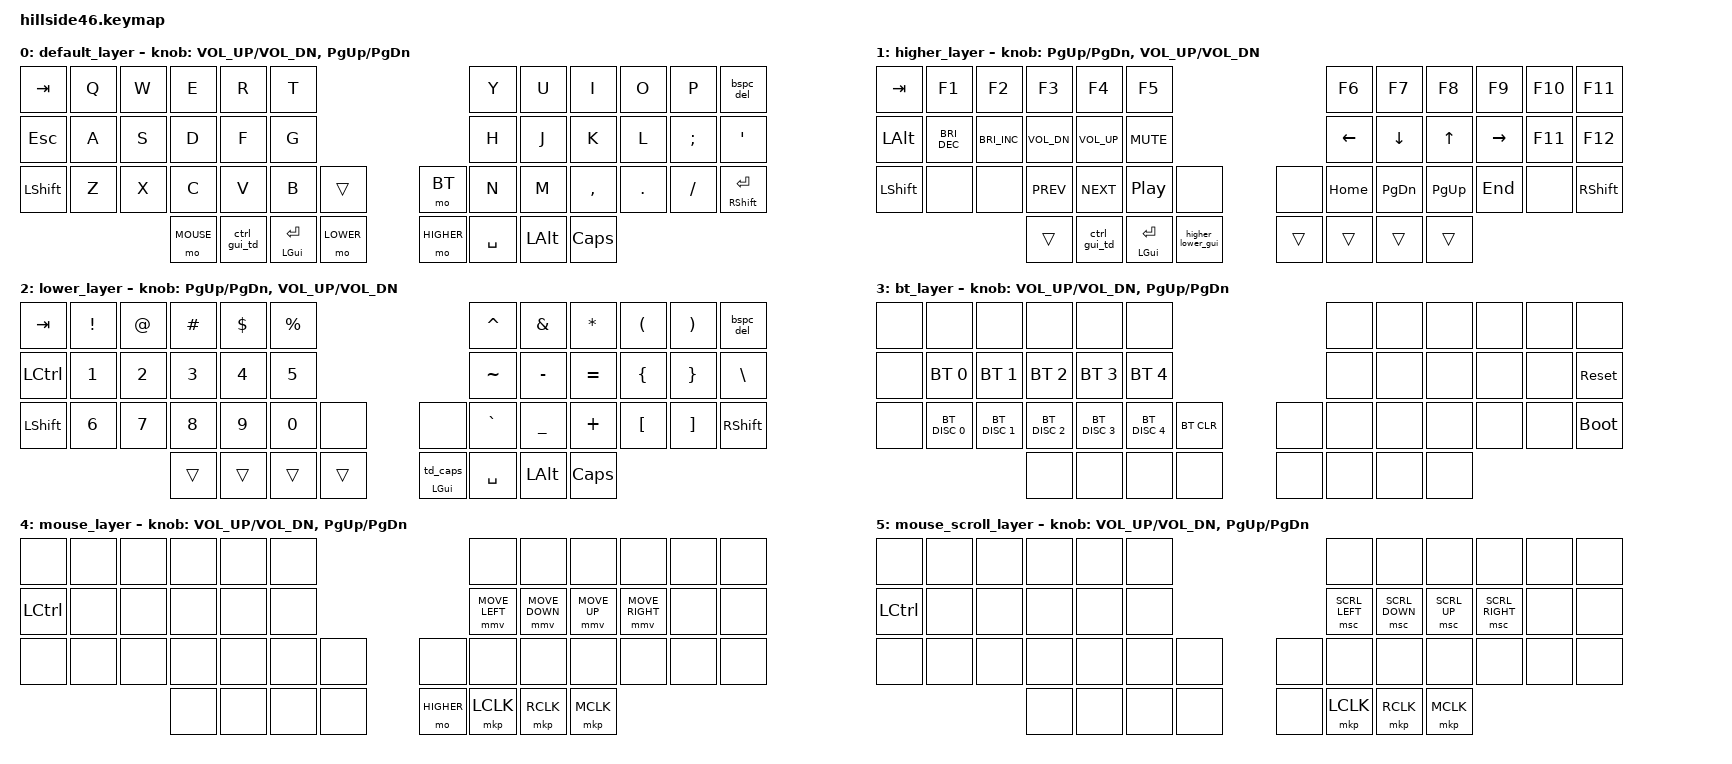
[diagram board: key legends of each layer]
/*
 * Copyright (c) 2021-2022 The ZMK Contributors
 *
 * SPDX-License-Identifier: MIT
 */

#define ZMK_POINTING_DEFAULT_MOVE_VAL 3000  // default: 600
#define ZMK_POINTING_DEFAULT_SCRL_VAL 20    // default: 10

#include <behaviors.dtsi>
#include <dt-bindings/zmk/bt.h>
#include <dt-bindings/zmk/ext_power.h>
#include <dt-bindings/zmk/keys.h>
#include <dt-bindings/zmk/outputs.h>
#include <dt-bindings/zmk/pointing.h>

#define DEFAULT       0
#define HIGHER        1
#define LOWER         2
#define BT            3
#define MOUSE         4
#define MOUSE_SCROLL  5

#define Undo   LC(Z)
#define Cut    LC(X)
#define Copy   LC(C)
#define Paste  LC(V)
#define Redo   LC(Y)


/ {
        conditional_layers {
          compatible = "zmk,conditional-layers";

          mouse_scroll {
            if-layers = <HIGHER MOUSE>;
            then-layer = <MOUSE_SCROLL>;
          };
        };

        macros {
          higher_lower_gui: higher_lower_gui {
            compatible = "zmk,behavior-macro";
            #binding-cells = <0>;
            bindings =
                <&macro_press &mo LOWER &kp LGUI>,
                <&macro_pause_for_release>,
                <&macro_release &mo LOWER &kp LGUI>;
          };
        };

        behaviors {
          ctrl_gui_td: tap_dance_0 {
              compatible = "zmk,behavior-tap-dance";
              #binding-cells = <0>;
              tapping-term-ms = <200>;
              bindings = <&kp LCTRL>, <&kp LC(LGUI)>;
          };

          bspc_del: backspace_delete {
            compatible = "zmk,behavior-mod-morph";
            #binding-cells = <0>;
            // bindings[0] is used when no modifier from 'mods' is held (outputs BACKSPACE)
            // bindings[1] is used when a modifier from 'mods' IS held (outputs DELETE)
            bindings = <&kp BACKSPACE>, <&kp DELETE>;
            // This specifies that Left Shift (MOD_LSFT)  will trigger the morph
            mods = <(MOD_LSFT)>;
            // This is crucial: by default, the triggering modifier (Shift) is "swallowed"
            // so the OS only receives the DELETE keycode, not Shift+Delete.
            keep-mods = <0>;
          };

          td_caps: tap_dance_caps {
            compatible = "zmk,behavior-tap-dance";
            #binding-cells = <0>;
            tapping-term-ms = <200>;
            bindings = <&caps_word>, <&kp CAPS>;
          };
          // 2. Hold-tap combining LGUI (hold) and the tap-dance above (tap)
          cw_gui: caps_word_gui {
            compatible = "zmk,behavior-hold-tap";
            #binding-cells = <2>;
            tapping-term-ms = <200>;
            flavor = "hold-preferred";
            hold-while-undecided;
            bindings = <&kp>, <&td_caps>;
          };
        };

        /* &mmv { */
        /*   x-input-code = <INPUT_REL_X>; */
        /*   y-input-code = <INPUT_REL_Y>; */
        /*   time-to-max-speed-ms = <300>; */
        /*   acceleration-exponent = <1>; */
        /* }; */

        keymap {
                compatible = "zmk,keymap";

                default_layer {
/* QWERTY
 * -------------------------------------------------------------------------------------------------------------------------------------
 * | `     |   Q   |   W   |   E   |   R   |   T   |-----------------------------------|   Y   |   U   |   I   |   O   |   P   | BKSPC |
 * | TAB   |   A   |   S   |   D   |   F   |   G   |-----------------------------------|   H   |   J   |   K   |   L   |   ;   | ENTER |
 * | CTRL  |   Z   |   X   |   C   |   V   |   B   |  ESC  |-------------------|  CAPS |   N   |   M   |   ,   |   .   |   /   |   '   |
 *                                 |  GUI  |  ALT  |SK SHFT|  Nav  |---|  Sym  | SPACE |  ALT  |  GUI  |
 */
                        bindings = <
&kp  TAB    &kp  Q        &kp  W        &kp  E        &kp  R        &kp  T                                                                         &kp  Y        &kp  U        &kp  I        &kp  O        &kp  P        &bspc_del
&kp  ESC      &kp  A        &kp  S        &kp  D        &kp  F        &kp  G                                                                         &kp  H        &kp  J        &kp  K        &kp  L        &kp  SEMI     &kp SQT
&kp  LSHIFT    &kp  Z        &kp  X        &kp  C        &kp  V        &kp  B        &trans                                           &mo BT &kp  N        &kp  M        &kp  COMMA    &kp  DOT      &kp  SLASH    &mt RSHIFT ENTER
                                                        &mo MOUSE     &ctrl_gui_td    &mt  LGUI ENTER    &mo  LOWER            &mo  HIGHER    &kp  SPACE    &kp  LALT     &kp CAPS
                        >;

                        sensor-bindings = <&inc_dec_kp C_VOL_UP C_VOL_DN &inc_dec_kp PG_UP PG_DN>;
                };

                higher_layer {
/* SYM
 * -------------------------------------------------------------------------------------------------------------------------------------
 * | INS   |   !   |   @   |   #   |   $   |   %   |-----------------------------------|   ^   |   &   |   *   |   (   |   )   | BSPC  |
 * |       |   \   |   -   |   =   |   [   |   ]   |-----------------------------------| HOME  | Shift | Ctrl  | Alt   | Gui   | END   |
 * | Ctrl  |   |   |   _   |   +   |   {   |   }   |SkAltGr|-------------------| MENU  | Mute  | Vol-  | Vol+  | Play  |       | Ctrl  |
 *                                 |       |       |       |  ADJ_L |---|      |       |       |       |
 */
                        bindings = <
&kp  TAB      &kp  F1     &kp  F2       &kp  F3     &kp  F4   &kp  F5                                                                   &kp  F6    &kp  F7     &kp  F8    &kp  F9     &kp  F10     &kp F11
&kp LALT         &kp  C_BRI_DEC     &kp  C_BRI_INC    &kp  C_VOL_DN    &kp  C_VOL_UP     &kp  C_MUTE                                                                      &kp  LEFT     &kp  DOWN    &kp  UP    &kp  RIGHT     &kp  F11     &kp F12
&kp LSHIFT       &none     &none    &kp  C_PREV     &kp  C_NEXT     &kp  C_PP     &none                                          &none     &kp  HOME   &kp  PG_DN &kp  PG_UP &kp END     &none         &kp RSHIFT
                                                        &trans       &ctrl_gui_td    &mt  LGUI ENTER       &higher_lower_gui             &trans       &trans        &trans        &trans
                        >;

                        sensor-bindings = <&inc_dec_kp PG_UP PG_DN &inc_dec_kp C_VOL_UP C_VOL_DN>;
                };

                lower_layer {
/* NAV
 * -------------------------------------------------------------------------------------------------------------------------------------
 * | Copy  |   1   |   2   |   3   |   4   |   5   |-----------------------------------|   6   |   7   |   8   |   9   |   0   | BSPC  |
 * | Cut   |  GUI  |  Alt  | Ctrl  | Shift | Paste |-----------------------------------| PG UP |  Left |  Up   |  Down | Right | PG DN |
 * | Ctrl  |  F1   |  F2   |  F3   |  F4   |  F5   |  UnDo |-------------------| ReDo  |  F6   |  F7   |  F8   |  F9   |  F10  | Ctrl  |
 *                                 |       |       |       |       |---| ADJ_L |       |       |       |
 */
                        bindings = <

&kp  TAB     &kp  EXCL       &kp  AT       &kp  HASH       &kp  DOLLAR       &kp  PERCENT                                                                        &kp   CARET      &kp   AMPERSAND      &kp   ASTERISK      &kp   LPAR      &kp  RPAR       &bspc_del
&kp  LCTRL      &kp  N1     &kp  N2     &kp  N3    &kp  N4    &kp  N5                                                                     &kp   TILDE   &kp  MINUS    &kp   EQUAL      &kp   LEFT_BRACE    &kp  RIGHT_BRACE    &kp BACKSLASH
&kp LSHIFT        &kp  N6       &kp  N7       &kp  N8       &kp  N9       &kp  N0       &none                                           &none     &kp   GRAVE      &kp  UNDER      &kp   PLUS      &kp   LEFT_BRACKET      &kp  RIGHT_BRACKET      &kp RSHIFT
                                                        &trans        &trans        &trans        &trans                 &cw_gui LGUI 0    &kp SPACE        &kp LALT        &kp CAPS

                        >;

                        sensor-bindings = <&inc_dec_kp PG_UP PG_DN &inc_dec_kp C_VOL_UP C_VOL_DN>;
                };

                bt_layer {
/* ADJUST
 * -------------------------------------------------------------------------------------------------------------------------------------
 * |       | QWERTY| DVORAK| COLEMK|       |       |-----------------------------------|       |  F11  |  F12  |Prt Scr|EP_OFF | EP_ON |
 * | RESET | BT 0  | BT 1  | BT 2  | BT 3  | BT 4  |-----------------------------------|       |       |       |       |       | RESET |
 * |       | LGUI  | LALT  | LCTRL | LSHIFT|       |BT CLR |-------------------|       |       |       |OUT_USB|OUT_BLE|       | BOOTL |
 *                                 |       |       |       |       |---|       |       |       |       |
 */
                        bindings = <
&none         &none &none  &none &none         &none                                                                             &none             &none          &none  &none   &none  &none
&none    &bt  BT_SEL 0 &bt  BT_SEL 1 &bt  BT_SEL 2 &bt  BT_SEL 3 &bt  BT_SEL 4                                                                     &none             &none              &none            &none          &none           &sys_reset
&none         &bt BT_DISC 0     &bt BT_DISC 1     &bt BT_DISC 2     &bt BT_DISC 3    &bt BT_DISC 4         &bt BT_CLR                                         &none            &none             &none              &none    &none  &none           &bootloader &none        &none        &none        &none                 &none        &none           &none            &none
                        >;

                        sensor-bindings = <&inc_dec_kp C_VOL_UP C_VOL_DN &inc_dec_kp PG_UP PG_DN>;
                };

                mouse_layer {
                        bindings = <
&none         &none &none  &none &none         &none                                                                             &none             &none          &none  &none   &none  &none
&kp LCTRL    &none &none &none &none &none                                                                     &mmv MOVE_LEFT             &mmv MOVE_DOWN              &mmv MOVE_UP            &mmv MOVE_RIGHT          &none           &none
&none         &none     &none     &none     &none    &none         &none                                         &none            &none             &none              &none    &none  &none           &none
&none        &none        &none        &none                 &mo HIGHER        &mkp LCLK           &mkp RCLK            &mkp MCLK
                        >;

                        sensor-bindings = <&inc_dec_kp C_VOL_UP C_VOL_DN &inc_dec_kp PG_UP PG_DN>;
                };

                mouse_scroll_layer {
                        bindings = <
&none         &none &none  &none &none         &none                                                                             &none             &none          &none  &none   &none  &none
&kp LCTRL    &none &none &none &none &none                                                                     &msc SCRL_LEFT             &msc SCRL_DOWN              &msc SCRL_UP            &msc SCRL_RIGHT          &none           &none
&none         &none     &none     &none     &none    &none         &none                                         &none            &none             &none              &none    &none  &none           &none
&none        &none        &none        &none                 &none        &mkp LCLK           &mkp RCLK            &mkp MCLK
                        >;

                        sensor-bindings = <&inc_dec_kp C_VOL_UP C_VOL_DN &inc_dec_kp PG_UP PG_DN>;
                };
        };
};
